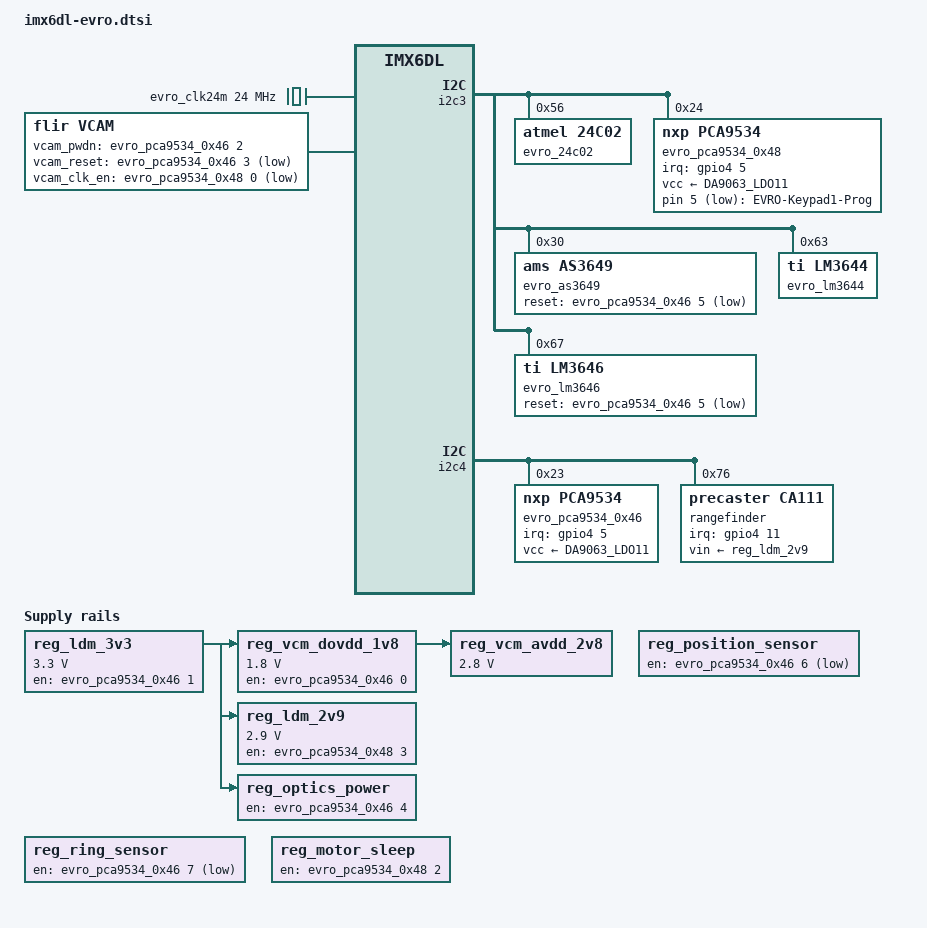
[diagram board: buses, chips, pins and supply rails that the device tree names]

/*
 * Copyright 2016 FLIR Systems.
 *
 * The code contained herein is licensed under the GNU General Public
 * License. You may obtain a copy of the GNU General Public License
 * Version 2 or later at the following locations:
 *
 * http://www.opensource.org/licenses/gpl-license.html
 * http://www.gnu.org/copyleft/gpl.html
 */

#include <dt-bindings/input/input.h>

/ {

	erla-keyboard {
		compatible = "gpio-keys";

		autorepeat;
		keypad_1n {
			label = "EVRO-Keypad1-Prog";
			gpio-key;
			gpios = <&evro_pca9534_0x48 5 GPIO_ACTIVE_LOW>;
			linux,code = <KEY_F10>;
		};
// Keys are not yet used, but support is provided in hardware for these keys...
//		keypad_2n {
//			label = "keypad2";
//			gpio-key;
//			gpios = <&evro_pca9534_0x48 6 GPIO_ACTIVE_LOW>;
//			linux,code = <>;
//		};
//		keypad_3n {
//			label = "keypad3";
//			gpio-key;
//			gpios = <&evro_pca9534_0x48 7 GPIO_ACTIVE_LOW>;
//			linux,code = <>;
//		};
	};


	clocks{
	evro_clk24m: clk24m{
			compatible = "fixed-clock";
                        #clock-cells = <0>;
			clock-frequency = <24000000>;
			/*vin-supply = <&reg_vcm_dovdd_1v8>;*/
		};
	};

	vcam {
		compatible = "flir,vcam";
		vcam_pwdn-gpio = <&evro_pca9534_0x46 2 GPIO_ACTIVE_HIGH>;
		vcam_reset-gpio = <&evro_pca9534_0x46 3 GPIO_ACTIVE_LOW>;
		vcam_clk_en-gpio = <&evro_pca9534_0x48 0 GPIO_ACTIVE_LOW>;
		/*dvdd-supply = <&reg_vcm_dovdd_1v8>;
		  avdd-supply = <&reg_vcm_avdd_2v8>;*/
		flipped_sensor = <0>;
		  
	};

	regulators {
		compatible = "simple-bus";

	        reg_vcm_dovdd_1v8: reg_vcm_dovdd_1v8 {
			compatible = "regulator-fixed";
			regulator-name = "VCM_DOVDD";
			regulator-min-microvolt = <1800000>;
			regulator-max-microvolt = <1800000>;
			gpio = <&evro_pca9534_0x46 0 GPIO_ACTIVE_HIGH>;
			vin-supply = <&reg_ldm_3v3>;
			enable-active-high;
		};

	        reg_vcm_avdd_2v8: reg_vcm_avdd_2v8 {
			compatible = "regulator-fixed";
			regulator-name = "VCM_AVDD";
			regulator-min-microvolt = <2800000>;
			regulator-max-microvolt = <2800000>;
			vin-supply = <&reg_vcm_dovdd_1v8>;
		};

	        reg_ldm_2v9: reg_ldm_2v9 {
			compatible = "regulator-fixed";
			regulator-name = "LDM_2V9";
			regulator-min-microvolt = <2900000>;
			regulator-max-microvolt = <2900000>;
			gpio = <&evro_pca9534_0x48 3 GPIO_ACTIVE_HIGH>;
			vin-supply = <&reg_ldm_3v3>;
			enable-active-high;
		};

	        reg_ldm_3v3: reg_ldm_3v3 {
			compatible = "regulator-fixed";
			regulator-name = "3V3A";
			regulator-min-microvolt = <3300000>;
			regulator-max-microvolt = <3300000>;
			gpio = <&evro_pca9534_0x46 1 GPIO_ACTIVE_HIGH>;
			enable-active-high;
		};

		reg_optics_power: reg_optics_power{
			compatible = "regulator-fixed";
			regulator-name = "optics_power";
			gpio = <&evro_pca9534_0x46 4 GPIO_ACTIVE_HIGH>;
			vin-supply = <&reg_ldm_3v3>;
			enable-active-high;
		};

		reg_position_sensor: reg_position_sensor{
			compatible = "regulator-fixed";
			regulator-name = "position_sensor";
			gpio = <&evro_pca9534_0x46 6 GPIO_ACTIVE_HIGH>;
		};

		reg_ring_sensor: reg_ring_sensor{
			compatible = "regulator-fixed";
			regulator-name = "ring_sensor";
			gpio = <&evro_pca9534_0x46 7 GPIO_ACTIVE_HIGH>;
		};

		reg_motor_sleep: reg_motor_sleep{
			compatible = "regulator-fixed";
			regulator-name = "motor_sleep";
			gpio = <&evro_pca9534_0x48 2 GPIO_ACTIVE_HIGH>;
			enable-active-high;
		};


	};
  };



&i2c3 {
evro_24c02: evro_24c02@56 {
		compatible = "atmel,24c02";
		reg = <0x56>;
		pagesize = <16>;
	};

evro_pca9534_0x48: evro_pca9534_0x48@24 {
		compatible = "nxp,pca9534";
		reg = <0x24>;
		gpio-controller;
		vcc-supply = <&DA9063_LDO11>;
		interrupt-parent = <&gpio4>; //I2C3_Alert_n
		//interrupts = <7 IRQ_TYPE_LEVEL_LOW>;  //ec101-c
		interrupts = <5 IRQ_TYPE_LEVEL_LOW>;    //ec101-d
		interrupt-controller;
		interrupts-shared;
                #interrupt-cells = <2>;
                #gpio-cells = <2>;
		//B0 M0
		//B1 M1
		//B2 Sleep_n
		//B3 LDM_2V9_EN
		//B4 Optics_En
		//B5 Key_Pad_1_n
		//B6 Key_Pad_2_n
		//B7 Key_Pad_3_n
		};

evro_as3649: evro_as3649@30 {
		compatible = "ams,as3649";
		reg = <0x30>;
		reset-gpio = <&evro_pca9534_0x46 5 GPIO_ACTIVE_LOW>;

		/*Inductor I limit*/
		I_limit_mA = /bits/ 16 <6000>;
		/*Low battery limit: limit output current in flash mode*/
		vin_low_v_mV = /bits/ 16 <3200>;
		/*flash*/
		max_peak_current_mA =/bits/ 16 <1250>;
		max_peak_duration_ms = /bits/ 16 <1000>;
		default_duration_ms = /bits/ 16 <500>;
		/*torch*/
		max_sustained_current_mA = /bits/ 16 <245>;
		min_current_mA = /bits/ 16 <100>;
		/* Leds forward voltage at maximum current */
		vf_mV = /bits/ 16 <4000>;
		ntc_on = /bits/ 8 <1>;
		// Enable overtemperature protection, torch/flash is
		// turned off when (ntc_current_uA * R_ntc < 1Volt)*

		ntc_current_uA = /bits/ 16 <280>;  // 0 .. 600uA, 40uA steps.
		//Termistor on EVEL is NCP15WF104F03RC 100Kohm 1%
		//
		// 240 uA, about 106 degrees
		// 280 uA, about 110 degrees = 3.77kohm --> 1V
		// 320 uA, about 116 degrees
	};

evro_lm3644: evro_lm3644@63 {
		compatible = "ti,lm3644";
		reg = <0x63>;
};

evro_lm3646: evro_lm3646@67 {
		compatible = "ti,lm3646";
		reg = <0x67>;
		reset-gpio = <&evro_pca9534_0x46 5 GPIO_ACTIVE_LOW>;

		ntc_on = /bits/ 8 <1>;
		ntc_volt_mV = /bits/ 16 <200>;

	};

};

&i2c4 {
evro_pca9534_0x46: evro_pca9534_0x46@23 {
		compatible = "nxp,pca9534";
		reg = <0x23>;
		gpio-controller;
		vcc-supply = <&DA9063_LDO11>;
		interrupt-parent = <&gpio4>; //I2C3_Alert_n
		interrupts = <5 IRQ_TYPE_LEVEL_LOW>;
		interrupt-controller;
		interrupts-shared;
                #interrupt-cells = <2>;
                #gpio-cells = <2>;
		//B0 VCM_DOVDD_EN output
		//B1 -
		//B2 VCM_PWDN output
		//B3 VCM_RESET_n output
		//B4 OPTICS_POWER_EN output
		//B5 LED_ON output
		//B6 POSITION_SENSOR_EN_n output
		//B7 RING_SENSOR_EN_n output
	};

rangefinder:rangefinder@76 {
		compatible = "precaster,ca111";
		reg = <0x76>;
		interrupt-parent = <&gpio4>; //beware... not used by the driver...
		interrupts = <11 2>;
		vin-supply = <&reg_ldm_2v9>;
	};
	
};
